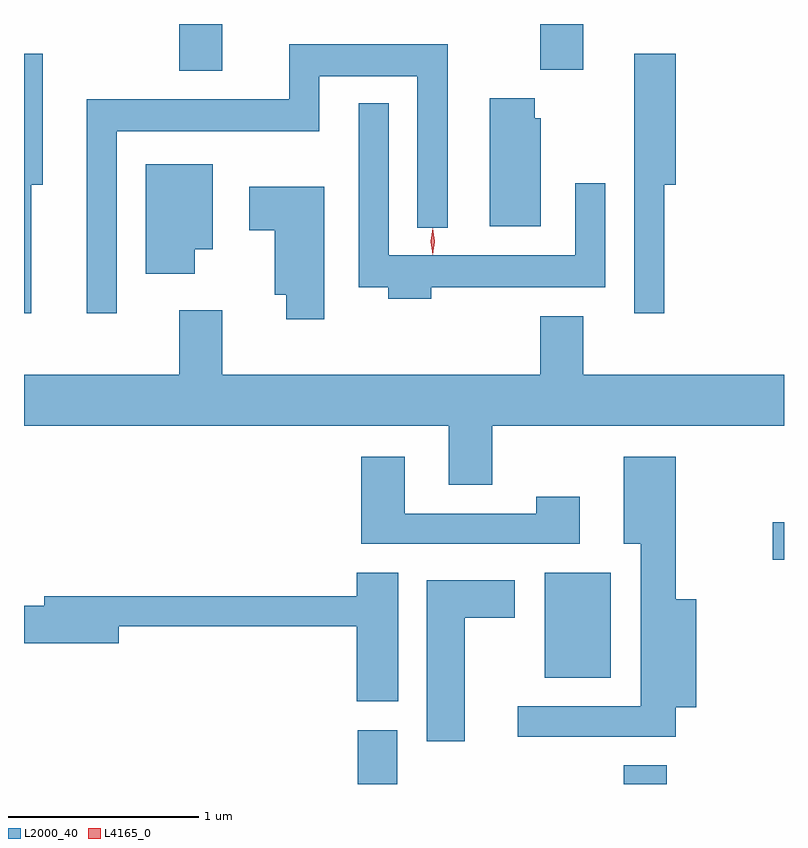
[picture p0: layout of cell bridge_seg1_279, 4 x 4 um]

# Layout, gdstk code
import gdstk
lib = gdstk.Library(unit=1e-6, precision=1e-09)
def R(c, l, rs):  # rectangles x0, y0, x1, y1
    for r in rs: c.add(gdstk.rectangle(r[:2], r[2:], *l))
def P(c, l, *ps):  # polygons
    for p in ps: c.add(gdstk.Polygon(p, *l))
L2000_40 = (2000, 40)
L4165_0 = (4165, 0)

bridge_seg1_279 = lib.new_cell('bridge_seg1_279')
R(bridge_seg1_279, L2000_40, [(844.301,893.251,844.509,893.534), (845.701,893.251,845.929,893.349), (845.286,893.811,845.634,894.364), (846.486,894.431,846.545,894.629), (843.361,897.006,843.589,897.251), (845.261,897.011,845.489,897.251)])
P(bridge_seg1_279, L2000_40, [(843.034,896.686),(844.099,896.686),(844.099,896.976),(844.616,896.976),(844.616,896.178),(844.774,896.178),(844.774,897.144),(843.941,897.144),(843.941,896.854),(842.876,896.854),(842.876,895.728),(843.034,895.728)],
  [(845.914,896.406),(845.974,896.406),(845.974,897.094),(845.756,897.094),(845.756,895.728),(845.914,895.728)],
  [(842.584,896.406),(842.644,896.406),(842.644,897.094),(842.545,897.094),(842.545,895.728),(842.584,895.728)],
  [(845.264,896.754),(845.234,896.754),(845.234,896.859),(844.996,896.859),(844.996,896.186),(845.264,896.186)],
  [(844.689,895.866),(845.604,895.866),(845.604,896.413),(845.446,896.413),(845.446,896.034),(844.464,896.034),(844.464,896.833),(844.306,896.833),(844.306,895.866),(844.461,895.866),(844.461,895.806),(844.689,895.806)],
  [(843.444,896.066),(843.539,896.066),(843.539,896.514),(843.186,896.514),(843.186,895.936),(843.444,895.936)],
  [(844.124,896.394),(843.731,896.394),(843.731,896.166),(843.866,896.166),(843.866,895.826),(843.926,895.826),(843.926,895.696),(844.124,895.696)],
  [(845.009,895.136),(846.545,895.136),(846.545,895.404),(845.489,895.404),(845.489,895.714),(845.261,895.714),(845.261,895.404),(843.589,895.404),(843.589,895.744),(843.361,895.744),(843.361,895.404),(842.545,895.404),(842.545,895.136),(844.781,895.136),(844.781,894.826),(845.009,894.826)],
  [(845.469,894.764),(845.241,894.764),(845.241,894.674),(844.549,894.674),(844.549,894.974),(844.321,894.974),(844.321,894.516),(845.469,894.516)],
  [(845.974,893.656),(846.084,893.656),(846.084,894.224),(845.974,894.224),(845.974,894.974),(845.701,894.974),(845.701,894.516),(845.791,894.516),(845.791,893.659),(845.143,893.659),(845.143,893.501),(845.974,893.501)],
  [(844.514,894.364),(844.296,894.364),(844.296,894.239),(842.651,894.239),(842.651,894.189),(842.545,894.189),(842.545,893.991),(843.044,893.991),(843.044,894.081),(844.296,894.081),(844.296,893.686),(844.514,893.686)],
  [(844.864,894.126),(845.129,894.126),(845.129,894.324),(844.666,894.324),(844.666,893.476),(844.864,893.476)])
P(bridge_seg1_279, L4165_0, [(844.696,896.037),(844.687,896.107),(844.696,896.176),(844.697,896.176),(844.697,896.176),(844.707,896.107),(844.697,896.037),(844.697,896.037)],
  [(844.697,896.039),(844.696,896.04),(844.687,896.106),(844.696,896.172),(844.697,896.173),(844.697,896.172),(844.707,896.106),(844.697,896.04)])

lib.write_gds('bridge_seg1_279.gds')
